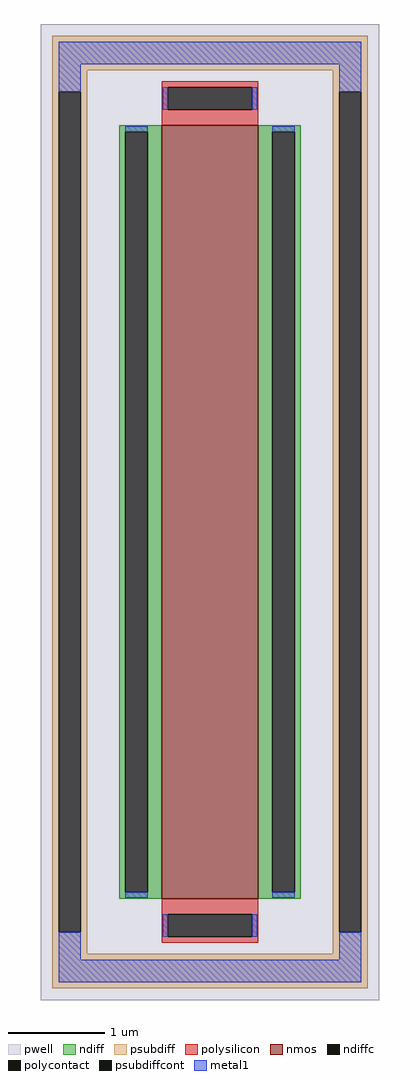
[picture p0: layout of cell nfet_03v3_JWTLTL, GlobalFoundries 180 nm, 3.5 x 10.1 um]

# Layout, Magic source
magic
tech gf180mcuD
magscale 1 10
<< pwell >>
rect -350 -1010 350 1010
<< nmos >>
rect -100 -800 100 800
<< ndiff >>
rect -188 787 -100 800
rect -188 -787 -175 787
rect -129 -787 -100 787
rect -188 -800 -100 -787
rect 100 787 188 800
rect 100 -787 129 787
rect 175 -787 188 787
rect 100 -800 188 -787
<< ndiffc >>
rect -175 -787 -129 787
rect 129 -787 175 787
<< psubdiff >>
rect -326 914 326 986
rect -326 870 -254 914
rect -326 -870 -313 870
rect -267 -870 -254 870
rect 254 870 326 914
rect -326 -914 -254 -870
rect 254 -870 267 870
rect 313 -870 326 870
rect 254 -914 326 -870
rect -326 -986 326 -914
<< psubdiffcont >>
rect -313 -870 -267 870
rect 267 -870 313 870
<< polysilicon >>
rect -100 879 100 892
rect -100 833 -87 879
rect 87 833 100 879
rect -100 800 100 833
rect -100 -833 100 -800
rect -100 -879 -87 -833
rect 87 -879 100 -833
rect -100 -892 100 -879
<< polycontact >>
rect -87 833 87 879
rect -87 -879 87 -833
<< metal1 >>
rect -313 927 313 973
rect -313 870 -267 927
rect -98 833 -87 879
rect 87 833 98 879
rect 267 870 313 927
rect -175 787 -129 798
rect -175 -798 -129 -787
rect 129 787 175 798
rect 129 -798 175 -787
rect -313 -927 -267 -870
rect -98 -879 -87 -833
rect 87 -879 98 -833
rect 267 -927 313 -870
rect -313 -973 313 -927
<< properties >>
string FIXED_BBOX -290 -950 290 950
string gencell nfet_03v3
string library gf180mcu
string parameters w 8.0 l 1.0 m 1 nf 1 diffcov 100 polycov 100 guard 1 glc 1 grc 1 gtc 0 gbc 0 tbcov 100 rlcov 100 topc 1 botc 1 poverlap 0 doverlap 1 lmin 0.28 wmin 0.22 class mosfet full_metal 1 compatible {nfet_03v3 nfet_05v0 nfet_06v0 nfet_06v0_nvt}
<< end >>
